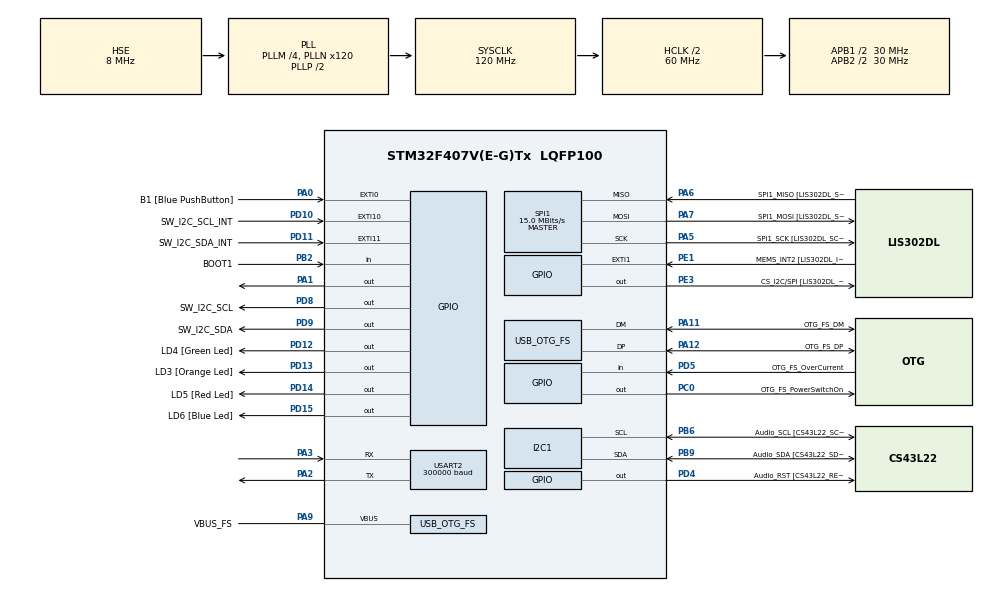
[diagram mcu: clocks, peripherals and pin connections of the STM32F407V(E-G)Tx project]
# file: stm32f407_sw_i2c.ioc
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Mcu.Family=STM32F4
Mcu.Name=STM32F407V(E-G)Tx
Mcu.Package=LQFP100
NVIC.EXTI0_IRQn=true\:0\:0\:false\:false\:true\:true\:true
NVIC.EXTI15_10_IRQn=true\:0\:0\:false\:false\:true\:true\:true
NVIC.OTG_FS_IRQn=true\:0\:0\:false\:false\:true\:true\:true
NVIC.PriorityGroup=NVIC_PRIORITYGROUP_0
PA0-WKUP.GPIO_Label=B1 [Blue PushButton]
PA0-WKUP.GPIO_ModeDefaultEXTI=GPIO_MODE_IT_RISING_FALLING
PA0-WKUP.GPIO_PuPd=GPIO_NOPULL
PA0-WKUP.Signal=GPXTI0
PA1.GPIO_ModeDefaultOutputPP=GPIO_MODE_OUTPUT_OD
PA1.GPIO_Speed=GPIO_SPEED_FREQ_VERY_HIGH
PA1.PinState=GPIO_PIN_SET
PA1.Signal=GPIO_Output
PA10.GPIO_Label=OTG_FS_ID
PA10.GPIO_Mode=GPIO_MODE_AF_PP
PA10.GPIO_PuPd=GPIO_NOPULL
PA10.GPIO_Speed=GPIO_SPEED_FREQ_LOW
PA10.Signal=USB_OTG_FS_ID
PA11.GPIO_Label=OTG_FS_DM
PA11.GPIO_Mode=GPIO_MODE_AF_PP
PA11.GPIO_PuPd=GPIO_NOPULL
PA11.GPIO_Speed=GPIO_SPEED_FREQ_LOW
PA11.Mode=Host_Only
PA11.Signal=USB_OTG_FS_DM
PA12.GPIO_Label=OTG_FS_DP
PA12.GPIO_Mode=GPIO_MODE_AF_PP
PA12.GPIO_PuPd=GPIO_NOPULL
PA12.GPIO_Speed=GPIO_SPEED_FREQ_LOW
PA12.Mode=Host_Only
PA12.Signal=USB_OTG_FS_DP
PA13.GPIO_Label=SWDIO
PA13.Mode=Serial_Wire
PA13.Signal=SYS_JTMS-SWDIO
PA14.GPIO_Label=SWCLK
PA14.Mode=Serial_Wire
PA14.Signal=SYS_JTCK-SWCLK
PA2.Mode=Asynchronous
PA2.Signal=USART2_TX
PA3.Mode=Asynchronous
PA3.Signal=USART2_RX
PA4.GPIO_Label=I2S3_WS [CS43L22_LRCK]
PA4.GPIO_Mode=GPIO_MODE_AF_PP
PA4.GPIO_PuPd=GPIO_NOPULL
PA4.GPIO_Speed=GPIO_SPEED_FREQ_LOW
PA4.Signal=I2S3_WS
PA5.GPIO_Label=SPI1_SCK [LIS302DL_SCL/SPC]
PA5.GPIO_Mode=GPIO_MODE_AF_PP
PA5.GPIO_PuPd=GPIO_NOPULL
PA5.GPIO_Speed=GPIO_SPEED_FREQ_LOW
PA5.Mode=Full_Duplex_Master
PA5.Signal=SPI1_SCK
PA6.GPIO_Label=SPI1_MISO [LIS302DL_SDO]
PA6.GPIO_Mode=GPIO_MODE_AF_PP
PA6.GPIO_PuPd=GPIO_NOPULL
PA6.GPIO_Speed=GPIO_SPEED_FREQ_LOW
PA6.Mode=Full_Duplex_Master
PA6.Signal=SPI1_MISO
PA7.GPIO_Label=SPI1_MOSI [LIS302DL_SDA/SDI/SDO]
PA7.GPIO_Mode=GPIO_MODE_AF_PP
PA7.GPIO_PuPd=GPIO_NOPULL
PA7.GPIO_Speed=GPIO_SPEED_FREQ_LOW
PA7.Mode=Full_Duplex_Master
PA7.Signal=SPI1_MOSI
PA9.GPIO_Label=VBUS_FS
PA9.GPIO_Mode=GPIO_MODE_INPUT
PA9.GPIO_PuPd=GPIO_NOPULL
PA9.Mode=Activate_VBUS
PA9.Signal=USB_OTG_FS_VBUS
PB10.GPIO_Label=CLK_IN [MP45DT02_CLK]
PB10.GPIO_Mode=GPIO_MODE_AF_PP
PB10.GPIO_PuPd=GPIO_NOPULL
PB10.GPIO_Speed=GPIO_SPEED_FREQ_LOW
PB10.Signal=I2S2_CK
PB2.GPIO_Label=BOOT1
PB2.GPIO_Mode=GPIO_MODE_INPUT
PB2.GPIO_PuPd=GPIO_NOPULL
PB2.Signal=GPIO_Input
PB3.GPIO_Label=SWO
PB3.Signal=SYS_JTDO-SWO
PB6.GPIO_Label=Audio_SCL [CS43L22_SCL]
PB6.GPIO_Mode=GPIO_MODE_AF_OD
PB6.GPIO_PuPd=GPIO_NOPULL
PB6.GPIO_Speed=GPIO_SPEED_FREQ_LOW
PB6.Mode=I2C
PB6.Signal=I2C1_SCL
PB9.GPIO_Label=Audio_SDA [CS43L22_SDA]
PB9.GPIO_Mode=GPIO_MODE_AF_OD
PB9.GPIO_PuPd=GPIO_NOPULL
PB9.GPIO_Speed=GPIO_SPEED_FREQ_LOW
PB9.Mode=I2C
PB9.Signal=I2C1_SDA
PC0.GPIO_Label=OTG_FS_PowerSwitchOn
PC0.GPIO_PuPd=GPIO_NOPULL
PC0.GPIO_Speed=GPIO_SPEED_FREQ_LOW
PC0.PinState=GPIO_PIN_SET
PC0.Signal=GPIO_Output
PC10.GPIO_Label=I2S3_SCK [CS43L22_SCLK]
PC10.GPIO_Mode=GPIO_MODE_AF_PP
PC10.GPIO_PuPd=GPIO_NOPULL
PC10.GPIO_Speed=GPIO_SPEED_FREQ_LOW
PC10.Signal=I2S3_CK
PC12.GPIO_Label=I2S3_SD [CS43L22_SDIN]
PC12.GPIO_Mode=GPIO_MODE_AF_PP
PC12.GPIO_PuPd=GPIO_NOPULL
PC12.GPIO_Speed=GPIO_SPEED_FREQ_LOW
PC12.Signal=I2S3_SD
PC14-OSC32_IN.GPIO_Label=PC14-OSC32_IN
PC14-OSC32_IN.Mode=LSE-External-Oscillator
PC14-OSC32_IN.Signal=RCC_OSC32_IN
PC15-OSC32_OUT.GPIO_Label=PC15-OSC32_OUT
PC15-OSC32_OUT.Mode=LSE-External-Oscillator
PC15-OSC32_OUT.Signal=RCC_OSC32_OUT
PC3.GPIO_Label=PDM_OUT [MP45DT02_DOUT]
PC3.GPIO_Mode=GPIO_MODE_AF_PP
PC3.GPIO_PuPd=GPIO_NOPULL
PC3.GPIO_Speed=GPIO_SPEED_FREQ_LOW
PC3.Signal=I2S2_SD
PC7.GPIO_Label=I2S3_MCK [CS43L22_MCLK]
PC7.GPIO_Mode=GPIO_MODE_AF_PP
PC7.GPIO_PuPd=GPIO_NOPULL
PC7.GPIO_Speed=GPIO_SPEED_FREQ_LOW
PC7.Signal=I2S3_MCK
PD10.GPIO_Label=SW_I2C_SCL_INT
PD10.GPIO_ModeDefaultEXTI=GPIO_MODE_IT_RISING_FALLING
PD10.GPIO_PuPd=GPIO_PULLUP
PD10.Signal=GPXTI10
PD11.GPIO_Label=SW_I2C_SDA_INT
PD11.GPIO_ModeDefaultEXTI=GPIO_MODE_IT_RISING_FALLING
PD11.GPIO_PuPd=GPIO_PULLUP
PD11.Signal=GPXTI11
PD12.GPIO_Label=LD4 [Green Led]
PD12.GPIO_PuPd=GPIO_NOPULL
PD12.GPIO_Speed=GPIO_SPEED_FREQ_LOW
PD12.Signal=GPIO_Output
PD13.GPIO_Label=LD3 [Orange Led]
PD13.GPIO_PuPd=GPIO_NOPULL
PD13.GPIO_Speed=GPIO_SPEED_FREQ_LOW
PD13.Signal=GPIO_Output
PD14.GPIO_Label=LD5 [Red Led]
PD14.GPIO_PuPd=GPIO_NOPULL
PD14.GPIO_Speed=GPIO_SPEED_FREQ_LOW
PD14.Signal=GPIO_Output
PD15.GPIO_Label=LD6 [Blue Led]
PD15.GPIO_PuPd=GPIO_NOPULL
PD15.GPIO_Speed=GPIO_SPEED_FREQ_LOW
PD15.Signal=GPIO_Output
PD4.GPIO_Label=Audio_RST [CS43L22_RESET]
PD4.GPIO_PuPd=GPIO_NOPULL
PD4.GPIO_Speed=GPIO_SPEED_FREQ_LOW
PD4.Signal=GPIO_Output
PD5.GPIO_Label=OTG_FS_OverCurrent
PD5.GPIO_Mode=GPIO_MODE_INPUT
PD5.GPIO_PuPd=GPIO_NOPULL
PD5.Signal=GPIO_Input
PD8.GPIO_Label=SW_I2C_SCL
PD8.GPIO_ModeDefaultOutputPP=GPIO_MODE_OUTPUT_OD
PD8.GPIO_PuPd=GPIO_NOPULL
PD8.GPIO_Speed=GPIO_SPEED_FREQ_VERY_HIGH
PD8.PinState=GPIO_PIN_SET
PD8.Signal=GPIO_Output
PD9.GPIO_Label=SW_I2C_SDA
PD9.GPIO_ModeDefaultOutputPP=GPIO_MODE_OUTPUT_OD
PD9.GPIO_PuPd=GPIO_NOPULL
PD9.GPIO_Speed=GPIO_SPEED_FREQ_VERY_HIGH
PD9.PinState=GPIO_PIN_SET
PD9.Signal=GPIO_Output
PE1.GPIO_Label=MEMS_INT2 [LIS302DL_INT2]
PE1.GPIO_ModeDefaultEXTI=GPIO_MODE_EVT_RISING
PE1.GPIO_PuPd=GPIO_NOPULL
PE1.Signal=GPXTI1
PE3.GPIO_Label=CS_I2C/SPI [LIS302DL_CS_I2C/SPI]
PE3.GPIO_PuPd=GPIO_NOPULL
PE3.GPIO_Speed=GPIO_SPEED_FREQ_LOW
PE3.Signal=GPIO_Output
PH0-OSC_IN.GPIO_Label=PH0-OSC_IN
PH0-OSC_IN.Mode=HSE-External-Oscillator
PH0-OSC_IN.Signal=RCC_OSC_IN
PH1-OSC_OUT.GPIO_Label=PH1-OSC_OUT
PH1-OSC_OUT.Mode=HSE-External-Oscillator
PH1-OSC_OUT.Signal=RCC_OSC_OUT
ProjectManager.HeapSize=0x200
ProjectManager.StackSize=0x400
ProjectManager.TargetToolchain=TrueSTUDIO
RCC.48MHZClocksFreq_Value=48000000
RCC.AHBCLKDivider=RCC_SYSCLK_DIV2
RCC.AHBFreq_Value=60000000
RCC.APB1CLKDivider=RCC_HCLK_DIV2
RCC.APB1Freq_Value=30000000
RCC.APB1TimFreq_Value=60000000
RCC.APB2CLKDivider=RCC_HCLK_DIV2
RCC.APB2Freq_Value=30000000
RCC.APB2TimFreq_Value=60000000
RCC.CortexFreq_Value=60000000
RCC.HCLKFreq_Value=60000000
RCC.HSE_VALUE=8000000
RCC.HSI_VALUE=16000000
RCC.PLLI2SN=50
RCC.PLLM=4
RCC.PLLN=120
RCC.PLLQ=5
RCC.SYSCLKFreq_VALUE=120000000
RCC.SYSCLKSource=RCC_SYSCLKSOURCE_PLLCLK
RCC.VCOOutputFreq_Value=240000000
SPI1.BaudRatePrescaler-Full_Duplex_Master=SPI_BAUDRATEPRESCALER_2
SPI1.CalculateBaudRate=15.0 MBits/s
SPI1.CalculateBaudRate-Full_Duplex_Master=42.0 MBits/s
SPI1.Direction=SPI_DIRECTION_2LINES
SPI1.Mode=SPI_MODE_MASTER
SPI1.Mode-Full_Duplex_Master=SPI_MODE_MASTER
SPI1.VirtualType=VM_MASTER
USART2.BaudRate=300000
USART2.Parity=PARITY_ODD
USART2.VirtualMode=VM_ASYNC
USART2.WordLength=WORDLENGTH_9B
USB_HOST.BSP.number=1
USB_HOST.USBH_HandleTypeDef-CDC_FS=hUsbHostFS
USB_HOST.VirtualModeFS=Cdc
USB_HOST0.BSP.STBoard=false
USB_HOST0.BSP.api=Unknown
USB_HOST0.BSP.i2caddr=0
USB_HOST0.BSP.i2creg=0
USB_HOST0.BSP.instance=PC0
USB_HOST0.BSP.ip=GPIO
USB_HOST0.BSP.mode=Output
USB_HOST0.BSP.name=Drive_VBUS_FS
USB_HOST0.BSP.solution=PC0
USB_OTG_FS.VirtualMode=Host_Only
USB_OTG_FS.phy_itface=HCD_PHY_EMBEDDED
VP_USB_HOST_VS_USB_HOST_CDC_FS.Mode=CDC_FS
board=STM32F4DISCOVERY

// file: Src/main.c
/* USER CODE BEGIN Header */
/**
  ******************************************************************************
  * @file           : main.c
  * @brief          : Main program body
  ******************************************************************************
  * @attention
  *
  * <h2><center>&copy; Copyright (c) 2019 STMicroelectronics.
  * All rights reserved.</center></h2>
  *
  * This software component is licensed by ST under Ultimate Liberty license
  * SLA0044, the "License"; You may not use this file except in compliance with
  * the License. You may obtain a copy of the License at:
  *                             www.st.com/SLA0044
  *
  ******************************************************************************
  */
/* USER CODE END Header */

#include "main.h"
#include "usb_host.h"

/* USER CODE BEGIN Includes */
#include "sw_i2c.h"
/* USER CODE END Includes */

I2C_HandleTypeDef hi2c1;

SPI_HandleTypeDef hspi1;

UART_HandleTypeDef huart2;

void SystemClock_Config(void);
static void MX_GPIO_Init(void);
static void MX_I2C1_Init(void);
static void MX_SPI1_Init(void);
static void MX_USART2_UART_Init(void);
void MX_USB_HOST_Process(void);

/* USER CODE BEGIN 0 */
uint8_t SwapByteTable[16] = { 0x00, 0x08,  0x04, 0x0C, 0x02, 0x0A, 0x06, 0x0E, 0x01, 0x09, 0x05, 0x0D, 0x03, 0x0B, 0x07, 0x0F };

void SwapByte(uint8_t* byte)
{
	uint8_t tmp_Byte = *byte;
	*byte = SwapByteTable[(tmp_Byte & 0xF0) >> 4];
	*byte |= (SwapByteTable[(tmp_Byte & 0x0F)]) << 4;
}

/* USER CODE END 0 */

int main(void)
{
  /* USER CODE BEGIN 1 */
	*(uint8_t*)&i2cState = 0;
  /* USER CODE END 1 */

  /* MCU Configuration--------------------------------------------------------*/

  /* Reset of all peripherals, Initializes the Flash interface and the Systick. */
  HAL_Init();

  /* USER CODE BEGIN Init */
  for (int i = 0; i< 256; i++)
  {
	  uint8_t tmp_Byte = i;
	  SwapByte(&tmp_Byte);
	  sendArray[i] = tmp_Byte;
  }
  /* USER CODE END Init */

  /* Configure the system clock */
  SystemClock_Config();

  /* Initialize all configured peripherals */
  MX_GPIO_Init();
  MX_I2C1_Init();
  MX_SPI1_Init();
  MX_USART2_UART_Init();
  MX_USB_HOST_Init();
  /* USER CODE BEGIN 2 */

  i2cState.sclState = GPIOD->IDR >> 10;
  i2cState.sdaState = GPIOD->IDR >> 11;
  i2cState.rwState = I2C_STATE_WRITE;

  /* USER CODE END 2 */

  /* Infinite loop */
  while (1)
  {
    MX_USB_HOST_Process();

  }
}

void SystemClock_Config(void)
{
  RCC_OscInitTypeDef RCC_OscInitStruct = {0};
  RCC_ClkInitTypeDef RCC_ClkInitStruct = {0};

  /** Configure the main internal regulator output voltage
  */
  __HAL_RCC_PWR_CLK_ENABLE();
  __HAL_PWR_VOLTAGESCALING_CONFIG(PWR_REGULATOR_VOLTAGE_SCALE1);
  /** Initializes the CPU, AHB and APB busses clocks
  */
  RCC_OscInitStruct.OscillatorType = RCC_OSCILLATORTYPE_HSE;
  RCC_OscInitStruct.HSEState = RCC_HSE_ON;
  RCC_OscInitStruct.PLL.PLLState = RCC_PLL_ON;
  RCC_OscInitStruct.PLL.PLLSource = RCC_PLLSOURCE_HSE;
  RCC_OscInitStruct.PLL.PLLM = 4;
  RCC_OscInitStruct.PLL.PLLN = 120;
  RCC_OscInitStruct.PLL.PLLP = RCC_PLLP_DIV2;
  RCC_OscInitStruct.PLL.PLLQ = 5;
  if (HAL_RCC_OscConfig(&RCC_OscInitStruct) != HAL_OK)
  {
    Error_Handler();
  }
  /** Initializes the CPU, AHB and APB busses clocks
  */
  RCC_ClkInitStruct.ClockType = RCC_CLOCKTYPE_HCLK|RCC_CLOCKTYPE_SYSCLK
                              |RCC_CLOCKTYPE_PCLK1|RCC_CLOCKTYPE_PCLK2;
  RCC_ClkInitStruct.SYSCLKSource = RCC_SYSCLKSOURCE_PLLCLK;
  RCC_ClkInitStruct.AHBCLKDivider = RCC_SYSCLK_DIV2;
  RCC_ClkInitStruct.APB1CLKDivider = RCC_HCLK_DIV2;
  RCC_ClkInitStruct.APB2CLKDivider = RCC_HCLK_DIV2;

  if (HAL_RCC_ClockConfig(&RCC_ClkInitStruct, FLASH_LATENCY_1) != HAL_OK)
  {
    Error_Handler();
  }
}

static void MX_I2C1_Init(void)
{

  hi2c1.Instance = I2C1;
  hi2c1.Init.ClockSpeed = 100000;
  hi2c1.Init.DutyCycle = I2C_DUTYCYCLE_2;
  hi2c1.Init.OwnAddress1 = 0;
  hi2c1.Init.AddressingMode = I2C_ADDRESSINGMODE_7BIT;
  hi2c1.Init.DualAddressMode = I2C_DUALADDRESS_DISABLE;
  hi2c1.Init.OwnAddress2 = 0;
  hi2c1.Init.GeneralCallMode = I2C_GENERALCALL_DISABLE;
  hi2c1.Init.NoStretchMode = I2C_NOSTRETCH_DISABLE;
  if (HAL_I2C_Init(&hi2c1) != HAL_OK)
  {
    Error_Handler();
  }

}

static void MX_SPI1_Init(void)
{

  /* SPI1 parameter configuration*/
  hspi1.Instance = SPI1;
  hspi1.Init.Mode = SPI_MODE_MASTER;
  hspi1.Init.Direction = SPI_DIRECTION_2LINES;
  hspi1.Init.DataSize = SPI_DATASIZE_8BIT;
  hspi1.Init.CLKPolarity = SPI_POLARITY_LOW;
  hspi1.Init.CLKPhase = SPI_PHASE_1EDGE;
  hspi1.Init.NSS = SPI_NSS_SOFT;
  hspi1.Init.BaudRatePrescaler = SPI_BAUDRATEPRESCALER_2;
  hspi1.Init.FirstBit = SPI_FIRSTBIT_MSB;
  hspi1.Init.TIMode = SPI_TIMODE_DISABLE;
  hspi1.Init.CRCCalculation = SPI_CRCCALCULATION_DISABLE;
  hspi1.Init.CRCPolynomial = 10;
  if (HAL_SPI_Init(&hspi1) != HAL_OK)
  {
    Error_Handler();
  }

}

static void MX_USART2_UART_Init(void)
{

  huart2.Instance = USART2;
  huart2.Init.BaudRate = 300000;
  huart2.Init.WordLength = UART_WORDLENGTH_9B;
  huart2.Init.StopBits = UART_STOPBITS_1;
  huart2.Init.Parity = UART_PARITY_ODD;
  huart2.Init.Mode = UART_MODE_TX_RX;
  huart2.Init.HwFlowCtl = UART_HWCONTROL_NONE;
  huart2.Init.OverSampling = UART_OVERSAMPLING_16;
  if (HAL_UART_Init(&huart2) != HAL_OK)
  {
    Error_Handler();
  }

}

static void MX_GPIO_Init(void)
{
  GPIO_InitTypeDef GPIO_InitStruct = {0};

  /* GPIO Ports Clock Enable */
  __HAL_RCC_GPIOE_CLK_ENABLE();
  __HAL_RCC_GPIOC_CLK_ENABLE();
  __HAL_RCC_GPIOH_CLK_ENABLE();
  __HAL_RCC_GPIOA_CLK_ENABLE();
  __HAL_RCC_GPIOB_CLK_ENABLE();
  __HAL_RCC_GPIOD_CLK_ENABLE();

  /*Configure GPIO pin Output Level */
  HAL_GPIO_WritePin(CS_I2C_SPI_GPIO_Port, CS_I2C_SPI_Pin, GPIO_PIN_RESET);

  /*Configure GPIO pin Output Level */
  HAL_GPIO_WritePin(OTG_FS_PowerSwitchOn_GPIO_Port, OTG_FS_PowerSwitchOn_Pin, GPIO_PIN_SET);

  /*Configure GPIO pin Output Level */
  HAL_GPIO_WritePin(GPIOA, GPIO_PIN_1, GPIO_PIN_SET);

  /*Configure GPIO pin Output Level */
  HAL_GPIO_WritePin(GPIOD, SW_I2C_SCL_Pin|SW_I2C_SDA_Pin, GPIO_PIN_SET);

  /*Configure GPIO pin Output Level */
  HAL_GPIO_WritePin(GPIOD, LD4_Pin|LD3_Pin|LD5_Pin|LD6_Pin
                          |Audio_RST_Pin, GPIO_PIN_RESET);

  /*Configure GPIO pin : CS_I2C_SPI_Pin */
  GPIO_InitStruct.Pin = CS_I2C_SPI_Pin;
  GPIO_InitStruct.Mode = GPIO_MODE_OUTPUT_PP;
  GPIO_InitStruct.Pull = GPIO_NOPULL;
  GPIO_InitStruct.Speed = GPIO_SPEED_FREQ_LOW;
  HAL_GPIO_Init(CS_I2C_SPI_GPIO_Port, &GPIO_InitStruct);

  /*Configure GPIO pin : OTG_FS_PowerSwitchOn_Pin */
  GPIO_InitStruct.Pin = OTG_FS_PowerSwitchOn_Pin;
  GPIO_InitStruct.Mode = GPIO_MODE_OUTPUT_PP;
  GPIO_InitStruct.Pull = GPIO_NOPULL;
  GPIO_InitStruct.Speed = GPIO_SPEED_FREQ_LOW;
  HAL_GPIO_Init(OTG_FS_PowerSwitchOn_GPIO_Port, &GPIO_InitStruct);

  /*Configure GPIO pin : PDM_OUT_Pin */
  GPIO_InitStruct.Pin = PDM_OUT_Pin;
  GPIO_InitStruct.Mode = GPIO_MODE_AF_PP;
  GPIO_InitStruct.Pull = GPIO_NOPULL;
  GPIO_InitStruct.Speed = GPIO_SPEED_FREQ_LOW;
  GPIO_InitStruct.Alternate = GPIO_AF5_SPI2;
  HAL_GPIO_Init(PDM_OUT_GPIO_Port, &GPIO_InitStruct);

  /*Configure GPIO pin : B1_Pin */
  GPIO_InitStruct.Pin = B1_Pin;
  GPIO_InitStruct.Mode = GPIO_MODE_IT_RISING_FALLING;
  GPIO_InitStruct.Pull = GPIO_NOPULL;
  HAL_GPIO_Init(B1_GPIO_Port, &GPIO_InitStruct);

  /*Configure GPIO pin : PA1 */
  GPIO_InitStruct.Pin = GPIO_PIN_1;
  GPIO_InitStruct.Mode = GPIO_MODE_OUTPUT_OD;
  GPIO_InitStruct.Pull = GPIO_NOPULL;
  GPIO_InitStruct.Speed = GPIO_SPEED_FREQ_VERY_HIGH;
  HAL_GPIO_Init(GPIOA, &GPIO_InitStruct);

  /*Configure GPIO pin : I2S3_WS_Pin */
  GPIO_InitStruct.Pin = I2S3_WS_Pin;
  GPIO_InitStruct.Mode = GPIO_MODE_AF_PP;
  GPIO_InitStruct.Pull = GPIO_NOPULL;
  GPIO_InitStruct.Speed = GPIO_SPEED_FREQ_LOW;
  GPIO_InitStruct.Alternate = GPIO_AF6_SPI3;
  HAL_GPIO_Init(I2S3_WS_GPIO_Port, &GPIO_InitStruct);

  /*Configure GPIO pin : BOOT1_Pin */
  GPIO_InitStruct.Pin = BOOT1_Pin;
  GPIO_InitStruct.Mode = GPIO_MODE_INPUT;
  GPIO_InitStruct.Pull = GPIO_NOPULL;
  HAL_GPIO_Init(BOOT1_GPIO_Port, &GPIO_InitStruct);

  /*Configure GPIO pin : CLK_IN_Pin */
  GPIO_InitStruct.Pin = CLK_IN_Pin;
  GPIO_InitStruct.Mode = GPIO_MODE_AF_PP;
  GPIO_InitStruct.Pull = GPIO_NOPULL;
  GPIO_InitStruct.Speed = GPIO_SPEED_FREQ_LOW;
  GPIO_InitStruct.Alternate = GPIO_AF5_SPI2;
  HAL_GPIO_Init(CLK_IN_GPIO_Port, &GPIO_InitStruct);

  /*Configure GPIO pins : SW_I2C_SCL_Pin SW_I2C_SDA_Pin */
  GPIO_InitStruct.Pin = SW_I2C_SCL_Pin|SW_I2C_SDA_Pin;
  GPIO_InitStruct.Mode = GPIO_MODE_OUTPUT_OD;
  GPIO_InitStruct.Pull = GPIO_NOPULL;
  GPIO_InitStruct.Speed = GPIO_SPEED_FREQ_VERY_HIGH;
  HAL_GPIO_Init(GPIOD, &GPIO_InitStruct);

  /*Configure GPIO pins : SW_I2C_SCL_INT_Pin SW_I2C_SDA_INT_Pin */
  GPIO_InitStruct.Pin = SW_I2C_SCL_INT_Pin|SW_I2C_SDA_INT_Pin;
  GPIO_InitStruct.Mode = GPIO_MODE_IT_RISING_FALLING;
  GPIO_InitStruct.Pull = GPIO_PULLUP;
  HAL_GPIO_Init(GPIOD, &GPIO_InitStruct);

  /*Configure GPIO pins : LD4_Pin LD3_Pin LD5_Pin LD6_Pin
                           Audio_RST_Pin */
  GPIO_InitStruct.Pin = LD4_Pin|LD3_Pin|LD5_Pin|LD6_Pin
                          |Audio_RST_Pin;
  GPIO_InitStruct.Mode = GPIO_MODE_OUTPUT_PP;
  GPIO_InitStruct.Pull = GPIO_NOPULL;
  GPIO_InitStruct.Speed = GPIO_SPEED_FREQ_LOW;
  HAL_GPIO_Init(GPIOD, &GPIO_InitStruct);

  /*Configure GPIO pins : I2S3_MCK_Pin I2S3_SCK_Pin I2S3_SD_Pin */
  GPIO_InitStruct.Pin = I2S3_MCK_Pin|I2S3_SCK_Pin|I2S3_SD_Pin;
  GPIO_InitStruct.Mode = GPIO_MODE_AF_PP;
  GPIO_InitStruct.Pull = GPIO_NOPULL;
  GPIO_InitStruct.Speed = GPIO_SPEED_FREQ_LOW;
  GPIO_InitStruct.Alternate = GPIO_AF6_SPI3;
  HAL_GPIO_Init(GPIOC, &GPIO_InitStruct);

  /*Configure GPIO pin : OTG_FS_OverCurrent_Pin */
  GPIO_InitStruct.Pin = OTG_FS_OverCurrent_Pin;
  GPIO_InitStruct.Mode = GPIO_MODE_INPUT;
  GPIO_InitStruct.Pull = GPIO_NOPULL;
  HAL_GPIO_Init(OTG_FS_OverCurrent_GPIO_Port, &GPIO_InitStruct);

  /*Configure GPIO pin : MEMS_INT2_Pin */
  GPIO_InitStruct.Pin = MEMS_INT2_Pin;
  GPIO_InitStruct.Mode = GPIO_MODE_EVT_RISING;
  GPIO_InitStruct.Pull = GPIO_NOPULL;
  HAL_GPIO_Init(MEMS_INT2_GPIO_Port, &GPIO_InitStruct);

  /* EXTI interrupt init*/
  HAL_NVIC_SetPriority(EXTI0_IRQn, 0, 0);
  HAL_NVIC_EnableIRQ(EXTI0_IRQn);

  HAL_NVIC_SetPriority(EXTI15_10_IRQn, 0, 0);
  HAL_NVIC_EnableIRQ(EXTI15_10_IRQn);

}

/* USER CODE BEGIN 4 */

void HAL_GPIO_EXTI_Callback(uint16_t GPIO_Pin)
{
	switch(GPIO_Pin)
	{
		case(SW_I2C_SDA_INT_Pin):
		i2cState.sdaState = GPIOD->IDR >> 11;
		I2C_SDA_SetState();
		break;

		case(SW_I2C_SCL_INT_Pin):
		i2cState.sclState = GPIOD->IDR >> 10;
		I2C_SCL_SetState();
		break;

		default:
			break;
	}
}

/* USER CODE END 4 */

void Error_Handler(void)
{
}

/************************ (C) COPYRIGHT STMicroelectronics *****END OF FILE****/
